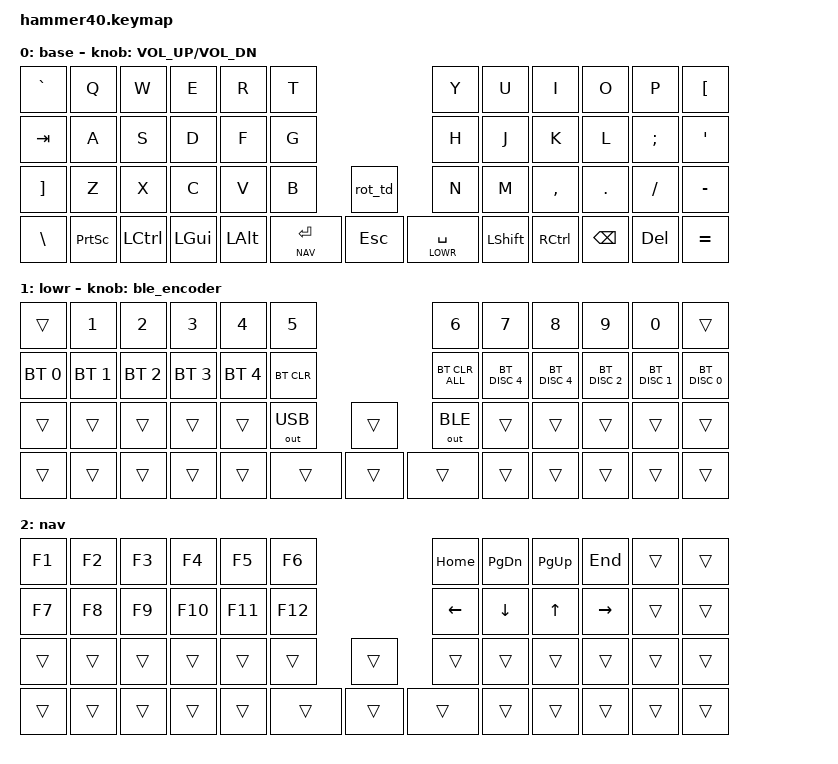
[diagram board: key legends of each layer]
/*
 * Copyright (c) 2020 The ZMK Contributors
 *
 * SPDX-License-Identifier: MIT
 */

#include <behaviors.dtsi>
#include <dt-bindings/zmk/keys.h>
#include <dt-bindings/zmk/bt.h>
#include <dt-bindings/zmk/outputs.h>

/* Layers */
#define BASE 0
#define LOWR 1
#define NAV 2

/ {
    combos {
        compatible = "zmk,combos";

        combo_studio_unlock {
            timeout-ms = <50>;
            key-positions = <0 11>;
            bindings = <&studio_unlock>;
        };

        combo_capsw {
            timeout-ms = <50>;
            key-positions = <16 19>;
            bindings = <&caps_word>;
        };

        combo_bootl {
            timeout-ms = <50>;
            key-positions = <0 1 2>;
            bindings = <&bootloader>;
        };

        combo_reset {
            timeout-ms = <50>;
            key-positions = <10 11 12>;
            bindings = <&sys_reset>;
        };
    };

    behaviors {
        rot_td: rot_tap_dance {
            compatible = "zmk,behavior-tap-dance";
            #binding-cells = <0>;
            tapping-term-ms = <250>;
            bindings = <&kp C_PP>, <&kp C_NEXT>, <&kp C_PREV>;
        };

        ble_encoder: ble_encoder {
            compatible = "zmk,behavior-sensor-rotate";
            #sensor-binding-cells = <0>;
            bindings = <&bt BT_NXT>, <&bt BT_PRV>;
        };
    };

    keymap {
        compatible = "zmk,keymap";

        default_layer {
            display-name = "base";
            sensor-bindings = <&inc_dec_kp C_VOL_UP C_VOL_DN>;
            bindings = <
                &kp GRAVE  &kp Q      &kp W      &kp E     &kp R     &kp T                   &kp Y           &kp U      &kp I      &kp O     &kp P     &kp LBKT
                &kp TAB    &kp A      &kp S      &kp D     &kp F     &kp G                   &kp H           &kp J      &kp K      &kp L     &kp SEMI  &kp APOS
                &kp RBKT   &kp Z      &kp X      &kp C     &kp V     &kp B          &rot_td  &kp N           &kp M      &kp COMMA  &kp DOT   &kp FSLH  &kp MINUS
                &kp BSLH   &kp PSCRN  &kp LCTRL  &kp LGUI  &kp LALT  &lt NAV ENTER  &kp ESC  &lt LOWR SPACE  &kp LSHFT  &kp RCTRL  &kp BSPC  &kp DEL   &kp EQUAL
            >;
        };
        
        lower_layer {
            display-name = "lowr";
            sensor-bindings = <&ble_encoder>;
            bindings = <
                &trans        &kp N1        &kp N2        &kp N3        &kp N4        &kp N5                &kp N6          &kp N7         &kp N8         &kp N9         &kp N0         &trans
                &bt BT_SEL 0  &bt BT_SEL 1  &bt BT_SEL 2  &bt BT_SEL 3  &bt BT_SEL 4  &bt BT_CLR            &bt BT_CLR_ALL  &bt BT_DISC 4  &bt BT_DISC 4  &bt BT_DISC 2  &bt BT_DISC 1  &bt BT_DISC 0
                &trans        &trans        &trans        &trans        &trans        &out OUT_USB  &trans  &out OUT_BLE    &trans         &trans         &trans         &trans         &trans
                &trans        &trans        &trans        &trans        &trans        &trans        &trans  &trans          &trans         &trans         &trans         &trans         &trans
            >;
        };

        nav_layer {
            display-name = "nav";
            bindings = <
                &kp F1  &kp F2  &kp F3  &kp F4   &kp F5   &kp F6           &kp HOME  &kp PG_DN  &kp PG_UP  &kp END    &trans  &trans
                &kp F7  &kp F8  &kp F9  &kp F10  &kp F11  &kp F12          &kp LEFT  &kp DOWN   &kp UP     &kp RIGHT  &trans  &trans
                &trans  &trans  &trans  &trans   &trans   &trans   &trans  &trans    &trans     &trans     &trans     &trans  &trans
                &trans  &trans  &trans  &trans   &trans   &trans   &trans  &trans    &trans     &trans     &trans     &trans  &trans
            >;
        };

        fn_layer {
            display-name = "fn";
            status = "reserved";
        };

        num_layer {
            display-name = "num";
            status = "reserved";
        };
        
        sys_layer {
            display-name = "sys";
            status = "reserved";
        };
    };
};
